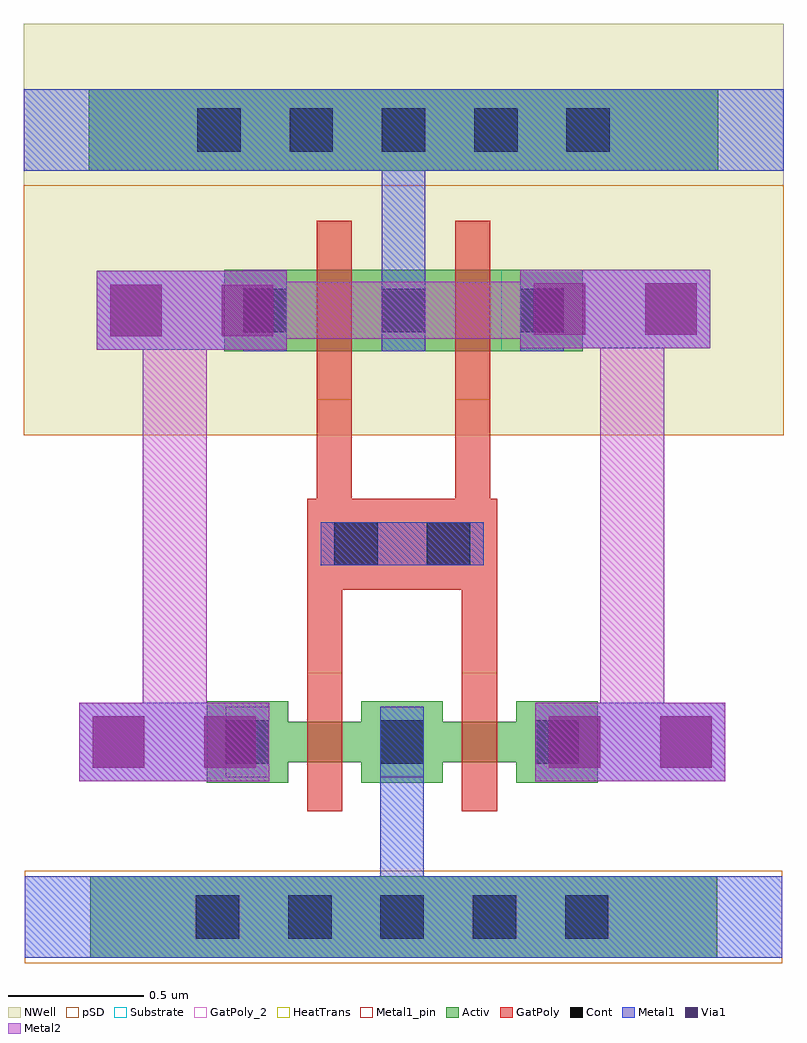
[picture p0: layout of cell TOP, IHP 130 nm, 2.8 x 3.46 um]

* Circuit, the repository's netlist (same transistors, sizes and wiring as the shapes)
* Qucs 25.1.1  /home/userproj/microelectronics/ProjetZigbee/ZigBee/PLL/Pompe_Charge/INV_2X.sch
.SUBCKT INV_2X VDD IN OUT VSS

Xsg13_lv_pmos1 VDD OUT IN VDD IHP_PDK_nonlinear_components_sg13_lv_pmos w=0.6U l=0.13U ng=2 m=1 as=0 ad=0 pd=0 ps=0 trise=0 z1=0.346E-6 z2=0.38E-6 wmin=0.15E-6 rfmode=0 pre_layout=1
Xsg13_lv_nmos1 VSS OUT IN VSS IHP_PDK_nonlinear_components_sg13_lv_nmos w=0.3U l=0.13U ng=1 m=1 as=0 ad=0 pd=0 ps=0 trise=0 z1=0.346E-6 z2=0.38E-6 wmin=0.15E-6 rfmode=0 pre_layout=1

.ENDS INV_2X

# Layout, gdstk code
from math import pi, radians
import gdstk
lib = gdstk.Library(unit=1e-6, precision=1e-09)
def R(c, l, rs):  # rectangles x0, y0, x1, y1
    for r in rs: c.add(gdstk.rectangle(r[:2], r[2:], *l))
def A(c, l, x, y, w, h, nx, ny, dx, dy):  # array of equal rectangles
    R(c, l, [(x+i*dx, y+j*dy, x+i*dx+w, y+j*dy+h) for i in range(nx) for j in range(ny)])
def P(c, l, *ps):  # polygons
    for p in ps: c.add(gdstk.Polygon(p, *l))
Activ = (1, 0)
GatPoly = (5, 0)
GatPoly_2 = (5, 2)
Cont = (6, 0)
Metal1 = (8, 0)
Metal1_pin = (8, 2)
Metal2 = (10, 0)
pSD = (14, 0)
Via1 = (19, 0)
NWell = (31, 0)
Substrate = (40, 0)
HeatTrans = (51, 0)

pmos_2 = lib.new_cell('pmos$2')
A(pmos_2, Activ, 0, 0, 0.3, 0.3, 3, 1, 0.51, 0)
R(pmos_2, Activ, [(0,0,1.32,0.3)])
R(pmos_2, GatPoly, [(0.34,-0.18,0.47,0.48), (0.34,-0.18,0.47,0.48), (0.85,-0.18,0.98,0.48)])
A(pmos_2, Cont, 0.07, 0.07, 0.16, 0.16, 3, 1, 0.51, 0)
R(pmos_2, Metal1, [(0.07,0,0.23,0.3), (0.07,0,0.23,0.3), (0.58,0,0.74,0.3), (0.58,0,0.74,0.3), (1.09,0,1.25,0.3)])
R(pmos_2, pSD, [(-0.18,-0.3,1.5,0.6)])
R(pmos_2, NWell, [(-0.31,-0.31,1.63,0.61)])
R(pmos_2, Substrate, [(1.02,0,1.32,0.3)])
R(pmos_2, HeatTrans, [(0.34,-0.18,0.47,0.48), (0.85,-0.18,0.98,0.48)])
pmos_2.add(gdstk.Label('pmos', (0.405,0.15), layer=63, texttype=0))
pmos_2.add(gdstk.Label('pmos', (0.405,0.15), layer=51, texttype=0))
pmos_2.add(gdstk.Label('pmos', (0.915,0.15), layer=51, texttype=0))

via_stack_1 = lib.new_cell('via_stack$1')
R(via_stack_1, Metal1, [(-0.35,-0.145,0.35,0.145)])
R(via_stack_1, Metal2, [(-0.35,-0.145,0.35,0.145)])
R(via_stack_1, Via1, [(-0.3,-0.095,-0.11,0.095), (0.11,-0.095,0.3,0.095)])

nmos_2 = lib.new_cell('nmos$2')
A(nmos_2, Activ, 0, 0, 0.3, 0.3, 3, 1, 0.57, 0)
R(nmos_2, Activ, [(0,0.075,1.44,0.225)])
R(nmos_2, GatPoly, [(0.37,-0.105,0.5,0.405), (0.94,-0.105,1.07,0.405)])
R(nmos_2, GatPoly_2, [(0.37,-0.105,0.5,0.405)])
A(nmos_2, Cont, 0.07, 0.07, 0.16, 0.16, 3, 1, 0.57, 0)
A(nmos_2, Metal1, 0.07, 0.02, 0.16, 0.26, 3, 1, 0.57, 0)
R(nmos_2, Metal1_pin, [(0.07,0.02,0.23,0.28), (0.64,0.02,0.8,0.28)])
R(nmos_2, HeatTrans, [(0.37,-0.105,0.5,0.405), (0.94,-0.105,1.07,0.405)])
nmos_2.add(gdstk.Label('nmos', (0.435,0.15), layer=63, texttype=0))
nmos_2.add(gdstk.Label('nmos', (0.435,0.15), layer=51, texttype=0))
nmos_2.add(gdstk.Label('nmos', (1.005,0.15), layer=51, texttype=0))

top = lib.new_cell('TOP')
R(top, Activ, [(3.16,1.215,5.47,1.515), (3.155,4.115,5.475,4.415)])
P(top, GatPoly, [(3.96,2.265),(3.96,2.905),(3.995,2.905),(3.995,3.27),(4.125,3.27),(4.125,2.905),(4.505,2.905),(4.505,3.27),(4.635,3.27),(4.635,2.905),(4.66,2.905),(4.66,2.265),(4.53,2.265),(4.53,2.57),(4.09,2.57),(4.09,2.265)])
R(top, Cont, [(3.55,1.285,3.71,1.445), (3.89,1.285,4.05,1.445), (3.89,1.285,4.05,1.445), (4.23,1.285,4.39,1.445), (4.23,1.285,4.39,1.445), (4.57,1.285,4.73,1.445), (4.57,1.285,4.73,1.445), (4.91,1.285,5.07,1.445), (4.06,2.66,4.22,2.82), (4.4,2.66,4.56,2.82), (3.555,4.185,3.715,4.345), (3.895,4.185,4.055,4.345), (3.895,4.185,4.055,4.345), (4.235,4.185,4.395,4.345), (4.235,4.185,4.395,4.345), (4.575,4.185,4.735,4.345), (4.575,4.185,4.735,4.345), (4.915,4.185,5.075,4.345)])
R(top, Metal1, [(4.01,2.66,4.61,2.82)])
P(top, Metal1, [(2.92,1.215),(2.92,1.515),(4.23,1.515),(4.23,1.88),(4.39,1.88),(4.39,1.515),(5.71,1.515),(5.71,1.215)],
  [(4.235,3.75),(4.235,4.115),(2.915,4.115),(2.915,4.415),(5.715,4.415),(5.715,4.115),(4.395,4.115),(4.395,3.75)])
R(top, Metal1_pin, [(2.92,1.215,5.71,1.515), (4.01,2.66,4.61,2.82), (2.915,4.115,5.715,4.415)])
R(top, Metal2, [(5.04,2,5.275,3.61), (3.355,2.005,3.59,3.6), (3.825,3.495,4.805,3.705)])
R(top, pSD, [(2.92,1.195,5.71,1.535), (2.915,3.14,5.715,4.06)])
P(top, NWell, [(2.915,3.14),(2.915,4.655),(5.715,4.655),(5.715,3.14),(5.285,3.14),(5.285,4.06),(3.345,4.06),(3.345,3.14)])
top.add(gdstk.Reference(pmos_2, (3.655,3.45)))
top.add(gdstk.Reference(via_stack_1, (3.535,3.6), rotation=pi))
top.add(gdstk.Reference(via_stack_1, (5.095,3.605), rotation=pi))
top.add(gdstk.Reference(nmos_2, (3.59,1.86)))
top.add(gdstk.Reference(via_stack_1, (3.47,2.01), rotation=pi))
top.add(gdstk.Reference(via_stack_1, (5.15,2.01), rotation=pi))

lib.write_gds('TOP.gds')
